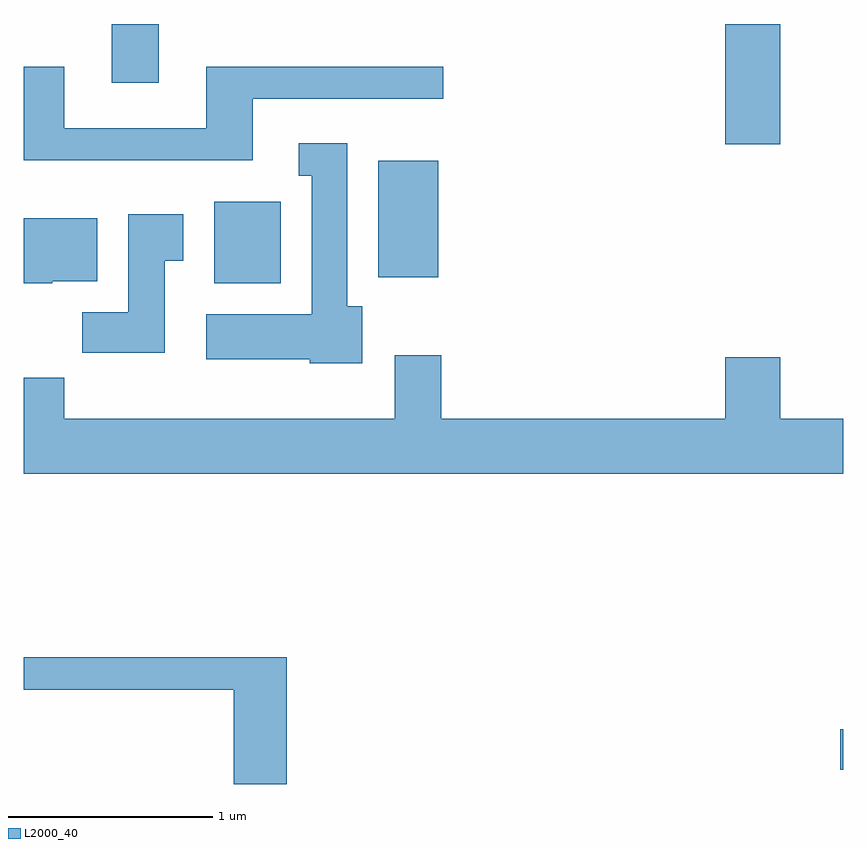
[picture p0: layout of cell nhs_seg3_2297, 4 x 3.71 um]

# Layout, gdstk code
import gdstk
lib = gdstk.Library(unit=1e-6, precision=1e-09)
def R(c, l, rs):  # rectangles x0, y0, x1, y1
    for r in rs: c.add(gdstk.rectangle(r[:2], r[2:], *l))
def P(c, l, *ps):  # polygons
    for p in ps: c.add(gdstk.Polygon(p, *l))
L2000_40 = (2000, 40)

nhs_seg3_2297 = lib.new_cell('nhs_seg3_2297')
R(nhs_seg3_2297, L2000_40, [(255.596,1222.251,255.611,1222.449), (252.541,1224.626,252.864,1225.024), (253.341,1224.656,253.634,1225.224), (255.036,1225.306,255.304,1225.892), (252.041,1225.606,252.269,1225.892)])
P(nhs_seg3_2297, L2000_40, [(252.729,1225.526),(253.658,1225.526),(253.658,1225.684),(252.501,1225.684),(252.501,1225.384),(251.809,1225.384),(251.809,1225.684),(251.611,1225.684),(251.611,1225.226),(252.729,1225.226)],
  [(253.264,1224.514),(253.189,1224.514),(253.189,1225.309),(252.953,1225.309),(252.953,1225.151),(253.016,1225.151),(253.016,1224.474),(252.501,1224.474),(252.501,1224.256),(253.006,1224.256),(253.006,1224.236),(253.264,1224.236)],
  [(252.299,1224.736),(252.389,1224.736),(252.389,1224.964),(252.121,1224.964),(252.121,1224.484),(251.896,1224.484),(251.896,1224.286),(252.299,1224.286)],
  [(251.75,1224.636),(251.969,1224.636),(251.969,1224.944),(251.611,1224.944),(251.611,1224.626),(251.75,1224.626)],
  [(251.611,1224.164),(251.611,1223.696),(255.611,1223.696),(255.611,1223.964),(255.304,1223.964),(255.304,1224.264),(255.036,1224.264),(255.036,1223.964),(253.649,1223.964),(253.649,1224.274),(253.421,1224.274),(253.421,1223.964),(251.809,1223.964),(251.809,1224.164)],
  [(252.894,1222.799),(251.611,1222.799),(251.611,1222.641),(252.636,1222.641),(252.636,1222.181),(252.894,1222.181)])

lib.write_gds('nhs_seg3_2297.gds')
